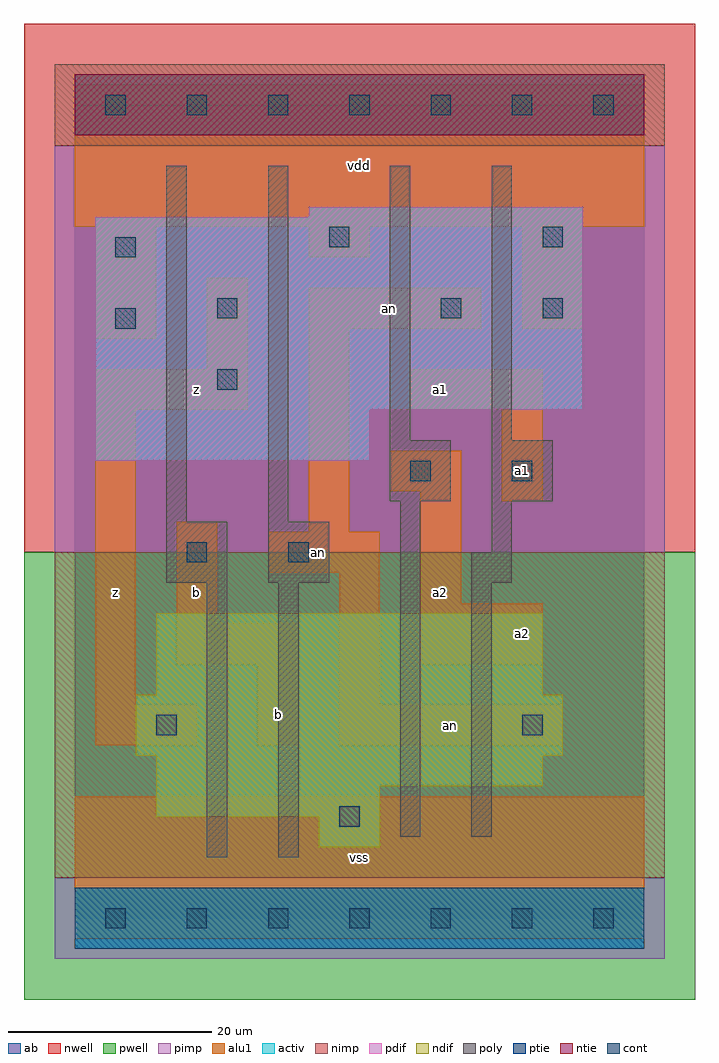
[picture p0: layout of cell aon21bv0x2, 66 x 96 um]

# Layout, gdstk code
import gdstk
lib = gdstk.Library(unit=1e-6, precision=1e-09)
def R(c, l, rs):  # rectangles x0, y0, x1, y1
    for r in rs: c.add(gdstk.rectangle(r[:2], r[2:], *l))
def A(c, l, x, y, w, h, nx, ny, dx, dy):  # array of equal rectangles
    R(c, l, [(x+i*dx, y+j*dy, x+i*dx+w, y+j*dy+h) for i in range(nx) for j in range(ny)])
ndif = (3, 0)
pdif = (4, 0)
ntie = (5, 0)
ptie = (6, 0)
cont = (25, 0)
pwell = (41, 0)
nwell = (42, 0)
activ = (43, 0)
pimp = (44, 0)
nimp = (45, 0)
poly = (46, 0)
alu1 = (49, 0)
ab = (63, 0)

aon21bv0x2 = lib.new_cell('aon21bv0x2')
R(aon21bv0x2, ndif, [(24,7,30,10), (8,10,30,13), (8,13,46,16), (6,16,48,22), (8,22,46,30)])
R(aon21bv0x2, pdif, [(2,45,29,50), (2,50,50,69), (23,69,50,70)])
R(aon21bv0x2, ntie, [(0,77,56,83)])
R(aon21bv0x2, ptie, [(0,-3,56,3)])
A(aon21bv0x2, cont, 3, -1, 2, 2, 7, 2, 8, 80)
R(aon21bv0x2, cont, [(26,9,28,11), (8,18,10,20), (44,18,46,20), (11,35,13,37), (21,35,23,37), (33,43,35,45), (43,43,45,45), (14,52,16,54), (4,58,6,60), (14,59,16,61), (36,59,38,61), (46,59,48,61), (4,65,6,67), (25,66,27,68), (46,66,48,68)])
R(aon21bv0x2, pwell, [(-5,-8,61,36)])
R(aon21bv0x2, nwell, [(-5,36,61,88)])
R(aon21bv0x2, activ, [(0,-3,56,3), (24,7,30,10), (8,10,30,13), (8,13,46,16), (6,16,48,22), (8,22,46,30), (2,45,29,50), (2,50,50,69), (23,69,50,70), (0,77,56,83)])
R(aon21bv0x2, pimp, [(-2,-4,58,4), (-2,36,58,76)])
R(aon21bv0x2, nimp, [(-2,4,58,36), (-2,76,58,84)])
R(aon21bv0x2, poly, [(13,6,15,33), (20,6,22,33), (32,8,34,41), (39,8,41,33), (9,33,15,39), (19,33,25,39), (39,33,43,36), (41,36,43,41), (9,39,11,74), (19,39,21,74), (31,41,37,47), (41,41,47,47), (31,47,33,74), (41,47,43,74)])
R(aon21bv0x2, alu1, [(0,-2,56,12), (2,17,12,21), (18,17,22,25), (26,17,48,21), (2,21,6,50), (26,21,30,34), (10,25,22,29), (34,25,46,31), (10,29,14,39), (34,31,38,42), (19,34,30,38), (23,38,27,58), (42,41,46,50), (31,42,38,46), (2,50,17,54), (33,50,46,54), (13,54,17,63), (2,57,8,68), (23,58,40,62), (44,58,50,68), (23,65,29,68), (0,68,56,82)])
R(aon21bv0x2, ab, [(0,0,56,80)])
aon21bv0x2.add(gdstk.Label('an', (24,36), layer=49, texttype=0))
aon21bv0x2.add(gdstk.Label('an', (31,60), layer=49, texttype=0))
aon21bv0x2.add(gdstk.Label('an', (37,19), layer=49, texttype=0))
aon21bv0x2.add(gdstk.Label('z', (4,32), layer=49, texttype=0))
aon21bv0x2.add(gdstk.Label('b', (20,20), layer=49, texttype=0))
aon21bv0x2.add(gdstk.Label('b', (12,32), layer=49, texttype=0))
aon21bv0x2.add(gdstk.Label('z', (12,52), layer=49, texttype=0))
aon21bv0x2.add(gdstk.Label('vss', (28,6), layer=49, texttype=0))
aon21bv0x2.add(gdstk.Label('a2', (36,32), layer=49, texttype=0))
aon21bv0x2.add(gdstk.Label('a1', (36,52), layer=49, texttype=0))
aon21bv0x2.add(gdstk.Label('vdd', (28,74), layer=49, texttype=0))
aon21bv0x2.add(gdstk.Label('a2', (44,28), layer=49, texttype=0))
aon21bv0x2.add(gdstk.Label('a1', (44,44), layer=49, texttype=0))

lib.write_gds('aon21bv0x2.gds')
